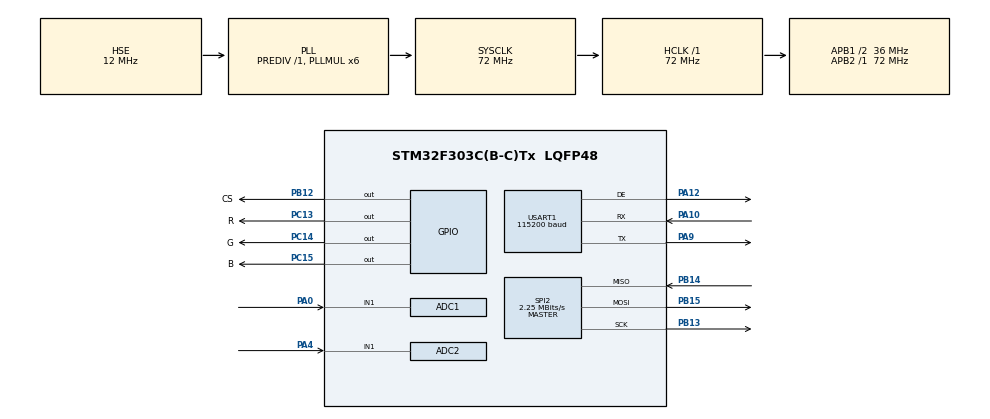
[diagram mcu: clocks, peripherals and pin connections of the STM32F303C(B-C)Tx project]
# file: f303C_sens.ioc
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ADC1.Channel-0\#ChannelRegularConversion=ADC_CHANNEL_1
ADC1.ClockPrescaler=ADC_CLOCK_SYNC_PCLK_DIV2
ADC1.ContinuousConvMode=DISABLE
ADC1.DMAContinuousRequests=ENABLE
ADC1.ExternalTrigConv=ADC_EXTERNALTRIGCONV_T3_TRGO
ADC1.NbrOfConversionFlag=1
ADC1.Offset-0\#ChannelRegularConversion=0
ADC1.OffsetNumber-0\#ChannelRegularConversion=ADC_OFFSET_NONE
ADC1.Rank-0\#ChannelRegularConversion=1
ADC1.SamplingTime-0\#ChannelRegularConversion=ADC_SAMPLETIME_61CYCLES_5
ADC1.master=1
ADC2.Channel-0\#ChannelRegularConversion=ADC_CHANNEL_1
ADC2.ClockPrescaler=ADC_CLOCK_SYNC_PCLK_DIV2
ADC2.NbrOfConversionFlag=1
ADC2.Offset-0\#ChannelRegularConversion=0
ADC2.OffsetNumber-0\#ChannelRegularConversion=ADC_OFFSET_NONE
ADC2.Rank-0\#ChannelRegularConversion=1
ADC2.SamplingTime-0\#ChannelRegularConversion=ADC_SAMPLETIME_1CYCLE_5
Dma.ADC1.0.Direction=DMA_PERIPH_TO_MEMORY
Dma.ADC1.0.Instance=DMA1_Channel1
Dma.ADC1.0.MemDataAlignment=DMA_MDATAALIGN_HALFWORD
Dma.ADC1.0.MemInc=DMA_MINC_ENABLE
Dma.ADC1.0.Mode=DMA_CIRCULAR
Dma.ADC1.0.PeriphDataAlignment=DMA_PDATAALIGN_HALFWORD
Dma.ADC1.0.PeriphInc=DMA_PINC_DISABLE
Dma.ADC1.0.Priority=DMA_PRIORITY_LOW
Dma.Request0=ADC1
FREERTOS.BinarySemaphores01=ADC_end,Dynamic,NULL
FREERTOS.Tasks01=MainTask,0,256,mainTask,Default,NULL,Dynamic,NULL,NULL;Modbus,0,256,modbus,Default,NULL,Dynamic,NULL,NULL
Mcu.Family=STM32F3
Mcu.Name=STM32F303C(B-C)Tx
Mcu.Package=LQFP48
NVIC.DMA1_Channel1_IRQn=true\:5\:0\:false\:false\:true\:true\:false\:true
NVIC.PriorityGroup=NVIC_PRIORITYGROUP_4
NVIC.TIM6_DAC_IRQn=true\:5\:0\:false\:false\:true\:true\:true\:true
NVIC.TIM7_IRQn=true\:0\:0\:false\:false\:true\:false\:false\:true
NVIC.TimeBase=TIM7_IRQn
NVIC.TimeBaseIP=TIM7
NVIC.USART1_IRQn=true\:5\:0\:false\:false\:true\:true\:true\:true
PA0.Mode=IN1-Single-Ended
PA0.Signal=ADC1_IN1
PA10.Mode=Asynchronous
PA10.Signal=USART1_RX
PA12.Mode=Hardware Flow Control (RS485)
PA12.Signal=USART1_DE
PA13.Mode=Serial_Wire
PA13.Signal=SYS_JTMS-SWDIO
PA14.Mode=Serial_Wire
PA14.Signal=SYS_JTCK-SWCLK
PA4.Mode=IN1-Single-Ended
PA4.Signal=ADC2_IN1
PA9.Mode=Asynchronous
PA9.Signal=USART1_TX
PB12.GPIO_Label=CS
PB12.Signal=GPIO_Output
PB13.Mode=Full_Duplex_Master
PB13.Signal=SPI2_SCK
PB14.Mode=Full_Duplex_Master
PB14.Signal=SPI2_MISO
PB15.Mode=Full_Duplex_Master
PB15.Signal=SPI2_MOSI
PC13.GPIO_Label=R
PC13.Signal=GPIO_Output
PC14-OSC32_IN.GPIO_Label=G
PC14-OSC32_IN.Signal=GPIO_Output
PC15-OSC32_OUT.GPIO_Label=B
PC15-OSC32_OUT.Signal=GPIO_Output
PF0-OSC_IN.Mode=HSE-External-Oscillator
PF0-OSC_IN.Signal=RCC_OSC_IN
PF1-OSC_OUT.Mode=HSE-External-Oscillator
PF1-OSC_OUT.Signal=RCC_OSC_OUT
ProjectManager.HeapSize=0x2000
ProjectManager.StackSize=0x4000
ProjectManager.TargetToolchain=EWARM V8.32
RCC.AHBFreq_Value=72000000
RCC.APB1CLKDivider=RCC_HCLK_DIV2
RCC.APB1Freq_Value=36000000
RCC.APB1TimFreq_Value=72000000
RCC.APB2Freq_Value=72000000
RCC.APB2TimFreq_Value=72000000
RCC.CortexFreq_Value=72000000
RCC.HCLKFreq_Value=72000000
RCC.HSE_VALUE=12000000
RCC.HSI_VALUE=8000000
RCC.LSE_VALUE=32768
RCC.PLLMUL=RCC_PLL_MUL6
RCC.PLLSourceVirtual=RCC_PLLSOURCE_HSE
RCC.SYSCLKFreq_VALUE=72000000
RCC.SYSCLKSourceVirtual=RCC_SYSCLKSOURCE_PLLCLK
RCC.USBFreq_Value=72000000
SPI2.BaudRatePrescaler=SPI_BAUDRATEPRESCALER_16
SPI2.CalculateBaudRate=2.25 MBits/s
SPI2.DataSize=SPI_DATASIZE_8BIT
SPI2.Direction=SPI_DIRECTION_2LINES
SPI2.Mode=SPI_MODE_MASTER
SPI2.VirtualType=VM_MASTER
TIM3.Channel-Output\ Compare1\ No\ Output=TIM_CHANNEL_1
TIM3.Period=1000-1
TIM3.Prescaler=72-1
TIM3.TIM_MasterOutputTrigger=TIM_TRGO_UPDATE
TIM6.Prescaler=72-1
USART1.BaudRate=115200
USART1.VirtualMode-Asynchronous=VM_ASYNC
USART1.VirtualMode-Hardware\ Flow\ Control\ (RS485)=VM_ASYNC
VP_FREERTOS_VS_CMSIS_V1.Mode=CMSIS_V1
VP_SYS_VS_tim7.Mode=TIM7
VP_TIM3_VS_no_output1.Mode=Output Compare1 No Output
VP_TIM6_VS_ClockSourceINT.Mode=Enable_Timer
board=custom

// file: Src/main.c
/* USER CODE BEGIN Header */
/**
  ******************************************************************************
  * @file           : main.c
  * @brief          : Main program body
  ******************************************************************************
  * @attention
  *
  * <h2><center>&copy; Copyright (c) 2021 STMicroelectronics.
  * All rights reserved.</center></h2>
  *
  * This software component is licensed by ST under Ultimate Liberty license
  * SLA0044, the "License"; You may not use this file except in compliance with
  * the License. You may obtain a copy of the License at:
  *                             www.st.com/SLA0044
  *
  ******************************************************************************
  */
/* USER CODE END Header */

#include "main.h"
#include "cmsis_os.h"
#include "adc.h"
#include "dma.h"
#include "spi.h"
#include "tim.h"
#include "usart.h"
#include "gpio.h"

/* USER CODE BEGIN Includes */
#include "flash_user.h"
/* USER CODE END Includes */

/* USER CODE BEGIN PV */
settings_t settings = {115200, 0x0E};
/* USER CODE END PV */

void SystemClock_Config(void);
void MX_FREERTOS_Init(void);

int main(void)
{

  /* MCU Configuration--------------------------------------------------------*/

  /* Reset of all peripherals, Initializes the Flash interface and the Systick. */
  HAL_Init();

  /* Configure the system clock */
  SystemClock_Config();

  /* Initialize all configured peripherals */
  MX_GPIO_Init();
  MX_DMA_Init();
  MX_ADC1_Init();
  MX_ADC2_Init();
  MX_SPI2_Init();
  MX_USART1_UART_Init();
  MX_TIM3_Init();
  MX_TIM6_Init();
  /* USER CODE BEGIN 2 */
  Flash_Read(&settings, StartSettingsAddres);
  if((settings.BaudRate == 0) | (settings.BaudRate == 0xFFFFFFFF))
    {
      settings.BaudRate = 115200;
      settings.SlaveAddress = 0x02;
      settings.offsetMax = 0;
      settings.offsetMin = 0;
      Flash_Write(settings, StartSettingsAddres);
    }
  /* USER CODE END 2 */

  /* Call init function for freertos objects (in freertos.c) */
  MX_FREERTOS_Init();
  /* Start scheduler */
  osKernelStart();

  /* We should never get here as control is now taken by the scheduler */
  /* Infinite loop */
  while (1)
  {

  }
}

void SystemClock_Config(void)
{
  RCC_OscInitTypeDef RCC_OscInitStruct = {0};
  RCC_ClkInitTypeDef RCC_ClkInitStruct = {0};
  RCC_PeriphCLKInitTypeDef PeriphClkInit = {0};

  /** Initializes the CPU, AHB and APB busses clocks
  */
  RCC_OscInitStruct.OscillatorType = RCC_OSCILLATORTYPE_HSE;
  RCC_OscInitStruct.HSEState = RCC_HSE_ON;
  RCC_OscInitStruct.HSEPredivValue = RCC_HSE_PREDIV_DIV1;
  RCC_OscInitStruct.HSIState = RCC_HSI_ON;
  RCC_OscInitStruct.PLL.PLLState = RCC_PLL_ON;
  RCC_OscInitStruct.PLL.PLLSource = RCC_PLLSOURCE_HSE;
  RCC_OscInitStruct.PLL.PLLMUL = RCC_PLL_MUL6;
  if (HAL_RCC_OscConfig(&RCC_OscInitStruct) != HAL_OK)
  {
    Error_Handler();
  }
  /** Initializes the CPU, AHB and APB busses clocks
  */
  RCC_ClkInitStruct.ClockType = RCC_CLOCKTYPE_HCLK|RCC_CLOCKTYPE_SYSCLK
                              |RCC_CLOCKTYPE_PCLK1|RCC_CLOCKTYPE_PCLK2;
  RCC_ClkInitStruct.SYSCLKSource = RCC_SYSCLKSOURCE_PLLCLK;
  RCC_ClkInitStruct.AHBCLKDivider = RCC_SYSCLK_DIV1;
  RCC_ClkInitStruct.APB1CLKDivider = RCC_HCLK_DIV2;
  RCC_ClkInitStruct.APB2CLKDivider = RCC_HCLK_DIV1;

  if (HAL_RCC_ClockConfig(&RCC_ClkInitStruct, FLASH_LATENCY_2) != HAL_OK)
  {
    Error_Handler();
  }
  PeriphClkInit.PeriphClockSelection = RCC_PERIPHCLK_USART1;
  PeriphClkInit.Usart1ClockSelection = RCC_USART1CLKSOURCE_PCLK2;
  if (HAL_RCCEx_PeriphCLKConfig(&PeriphClkInit) != HAL_OK)
  {
    Error_Handler();
  }
}

 /**
  * @brief  Period elapsed callback in non blocking mode
  * @note   This function is called  when TIM7 interrupt took place, inside
  * HAL_TIM_IRQHandler(). It makes a direct call to HAL_IncTick() to increment
  * a global variable "uwTick" used as application time base.
  * @param  htim : TIM handle
  * @retval None
  */
void HAL_TIM_PeriodElapsedCallback(TIM_HandleTypeDef *htim)
{
  if (htim->Instance == TIM7) {
    HAL_IncTick();
  }
}

void Error_Handler(void)
{
}

/************************ (C) COPYRIGHT STMicroelectronics *****END OF FILE****/

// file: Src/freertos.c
/* USER CODE BEGIN Header */
/**
  ******************************************************************************
  * File Name          : freertos.c
  * Description        : Code for freertos applications
  ******************************************************************************
  * @attention
  *
  * <h2><center>&copy; Copyright (c) 2021 STMicroelectronics.
  * All rights reserved.</center></h2>
  *
  * This software component is licensed by ST under Ultimate Liberty license
  * SLA0044, the "License"; You may not use this file except in compliance with
  * the License. You may obtain a copy of the License at:
  *                             www.st.com/SLA0044
  *
  ******************************************************************************
  */
/* USER CODE END Header */

#include "FreeRTOS.h"
#include "task.h"
#include "main.h"
#include "cmsis_os.h"

/* USER CODE BEGIN Includes */
#include "mb.h"
#include "mbport.h"
#include "flash_user.h"
//#include "filter_sma.h"

#include "sensor.h"
/* USER CODE END Includes */

/* USER CODE BEGIN Variables */
extern TIM_HandleTypeDef htim3;
extern ADC_HandleTypeDef hadc2;
extern ADC_HandleTypeDef hadc1;

extern settings_t settings;
uint16_t sensBuff[8] = {0};
uint8_t sensState = 255; // битовое поле

uint32_t freqSens = 72000000u/30000u;
uint32_t pwmSens;

uint16_t adc_buffer[1024] = {0};
sensor Sensor1;
sensor Sensor2;
sensor Sensor3;
uint16_t call = 0;
/* USER CODE END Variables */
osThreadId MainTaskHandle;
osThreadId ModbusHandle;
osSemaphoreId ADC_endHandle;

/* USER CODE BEGIN FunctionPrototypes */
//extern "C"
/* USER CODE END FunctionPrototypes */

void mainTask(void const * argument);
void modbus(void const * argument);

void MX_FREERTOS_Init(void); /* (MISRA C 2004 rule 8.1) */

/* GetIdleTaskMemory prototype (linked to static allocation support) */
extern "C" void vApplicationGetIdleTaskMemory( StaticTask_t **ppxIdleTaskTCBBuffer, StackType_t **ppxIdleTaskStackBuffer, uint32_t *pulIdleTaskStackSize );

/* USER CODE BEGIN GET_IDLE_TASK_MEMORY */
static StaticTask_t xIdleTaskTCBBuffer;
static StackType_t xIdleStack[configMINIMAL_STACK_SIZE];

void vApplicationGetIdleTaskMemory( StaticTask_t **ppxIdleTaskTCBBuffer, StackType_t **ppxIdleTaskStackBuffer, uint32_t *pulIdleTaskStackSize )
{
  *ppxIdleTaskTCBBuffer = &xIdleTaskTCBBuffer;
  *ppxIdleTaskStackBuffer = &xIdleStack[0];
  *pulIdleTaskStackSize = configMINIMAL_STACK_SIZE;
  /* place for user code */
}
/* USER CODE END GET_IDLE_TASK_MEMORY */

void MX_FREERTOS_Init(void) {

  /* Create the semaphores(s) */
  /* definition and creation of ADC_end */
  osSemaphoreDef(ADC_end);
  ADC_endHandle = osSemaphoreCreate(osSemaphore(ADC_end), 1);

  /* Create the thread(s) */
  /* definition and creation of MainTask */
  osThreadDef(MainTask, mainTask, osPriorityNormal, 0, 256);
  MainTaskHandle = osThreadCreate(osThread(MainTask), NULL);

  /* definition and creation of Modbus */
  osThreadDef(Modbus, modbus, osPriorityNormal, 0, 256);
  ModbusHandle = osThreadCreate(osThread(Modbus), NULL);

}

void mainTask(void const * argument)
{
  /* USER CODE BEGIN mainTask */
HAL_ADC_Start_DMA(&hadc1, (uint32_t*)&adc_buffer, 1);
   HAL_TIM_Base_Start_IT(&htim3);

   HAL_GPIO_WritePin(R_GPIO_Port, R_Pin, GPIO_PIN_SET);
   HAL_GPIO_WritePin(G_GPIO_Port, G_Pin, GPIO_PIN_SET);
   HAL_GPIO_WritePin(B_GPIO_Port, B_Pin, GPIO_PIN_SET);

   /* Infinite loop */
   for(;;)
   {

      osSemaphoreWait(ADC_endHandle, osWaitForever);
      Sensor1.Filter_SMA(adc_buffer[0]);
      //Sensor2.Filter_SMA(adc_buffer[1]);
      //Sensor3.Filter_SMA(adc_buffer[2]);
      //printf("CH1: %d\r\n",Sensor1.Get_Result());
      //printf("CH2: %d\r\n",Sensor2.Get_Result());
      //printf("CH3: %d\r\n",Sensor3.Get_Result());

      if(call){
         call = 0;
         Sensor1.Call(&adc_buffer[0]);
         Flash_Write(settings, StartSettingsAddres);
      }
      if(Sensor1.detectPoll()){
         HAL_GPIO_WritePin(R_GPIO_Port, R_Pin, GPIO_PIN_RESET);
      }else{
         HAL_GPIO_WritePin(R_GPIO_Port, R_Pin, GPIO_PIN_SET);
      }
      //taskYIELD();
   }
  /* USER CODE END mainTask */
}

void modbus(void const * argument)
{
  /* USER CODE BEGIN modbus */
 /* Infinite loop */
   eMBErrorCode eStatus = eMBInit( MB_RTU, settings.SlaveAddress, 3, settings.BaudRate, MB_PAR_NONE );
   eStatus = eMBEnable();
   //HAL_TIM_Base_Start_IT(&htim17);
   for(;;)
   {
      eMBPoll();
      //taskYIELD();
   }
  /* USER CODE END modbus */
}

/* USER CODE BEGIN Application */

void HAL_ADC_ConvCpltCallback(ADC_HandleTypeDef* hadc){
  /* This is called after the conversion is completed */

   osSemaphoreRelease(ADC_endHandle);

}
/*description https://www.freemodbus.org/api/group__modbus__registers.html*/
//0x04
eMBErrorCode
eMBRegInputCB( UCHAR * pucRegBuffer, USHORT usAddress, USHORT usNRegs )
{
   eMBErrorCode    eStatus = MB_ENOERR;

   return eStatus;
}
//0x03 0x06 0x10
eMBErrorCode
eMBRegHoldingCB( UCHAR * pucRegBuffer, USHORT usAddress, USHORT usNRegs, eMBRegisterMode eMode )
{
   //uint8_t CMD[5] = {0};
   volatile HAL_StatusTypeDef status;

   if(usAddress == 0 ){}
   else{usAddress--;}

   eMBErrorCode    eStatus = MB_ENOERR;

   switch (eMode)
   {
     case MB_REG_READ:
      {
         switch (usAddress)
         {
           case 0:
            {
              uint16_t temp = (uint16_t)Sensor1.getdetect();
              *(pucRegBuffer) = (temp & 0xff00)>>8;
              *(pucRegBuffer+1) = temp & 0x00ff;
            break;
            }
           case 1:
            {
              uint16_t temp = Sensor1.Get_Result();
              *(pucRegBuffer) = (temp & 0xff00)>>8;
              *(pucRegBuffer++) = temp & 0x00ff;
               break;
            }
           case 2:
            {
//              uint16_t temp = Sensor3.Get_Result();
//              *(pucRegBuffer) = (temp & 0xff00)>>8;
//              *(pucRegBuffer++) = temp & 0x00ff;
               break;
            }
           case 3: //Status Dir
            {

               break;
            }
           case 4: // RPM
            {

               break;
            }
           case 5: //
            {

               break;
            }
           case 6: //
            {
               *(pucRegBuffer+1) = Sensor1.timOut;
               break;
            }
           case 7: //
            {

               break;
            }
           case 8:
            {

              //Flash_Write(settings, StartSettingsAddres);
               break;
            }
           case 9:
            {
               *(pucRegBuffer++) = settings.BaudRate;
               break;
            }
           case 10:
            {
               *(pucRegBuffer++) = settings.SlaveAddress;
               break;
            }
           case 11:
            {

               break;
            }
           default:
            {
               eStatus = MB_ENOREG;
               break;
            }
         }

         break;
      }
     case MB_REG_WRITE:
      {

         switch (usAddress)
         {
           case 0: //  Stop/Start
            {

               break;
            }
           case 1: // Dir
            {

               break;
            }
           case 2:
            {

               break;
            }
           case 3:
            {

               break;
            }
           case 4: //
            {

               break;
            }
           case 5: //
            {
               break;
            }
           case 6: //
            {
               Sensor1.timOut = *(pucRegBuffer+1);
               break;
            }
           case 7: //
            {

              if((*(pucRegBuffer+1)) == 1)
                {
                  call = 1;
                }
               break;
            }
           case 8:
            {
              Flash_Write(settings, StartSettingsAddres);

               break;
            }
           case 9:
            {
               settings.BaudRate = ((*(pucRegBuffer)<<8) | (*(pucRegBuffer+1)))*10;
               break;
            }
           case 10:
            {
               settings.SlaveAddress = *(pucRegBuffer+1);
               break;
            }
           case 0x0F:
            {
               //Flash_Write(settings, StartSettingsAddres);
               break;
            }
           default:
            {
               eStatus = MB_ENOREG;
               break;
            }
         }
         break;
      }
     default:
      {
         eStatus = MB_EINVAL;
         break;
      }
   }

   return eStatus;
}

// 0x01 0x0f 0x05
eMBErrorCode
eMBRegCoilsCB( UCHAR * pucRegBuffer, USHORT usAddress, USHORT usNCoils, eMBRegisterMode eMode )
{
   return MB_ENOREG;
}
//0x02
eMBErrorCode
eMBRegDiscreteCB( UCHAR * pucRegBuffer, USHORT usAddress, USHORT usNDiscrete )
{
   return MB_ENOREG;
}

/* USER CODE END Application */

/************************ (C) COPYRIGHT STMicroelectronics *****END OF FILE****/
